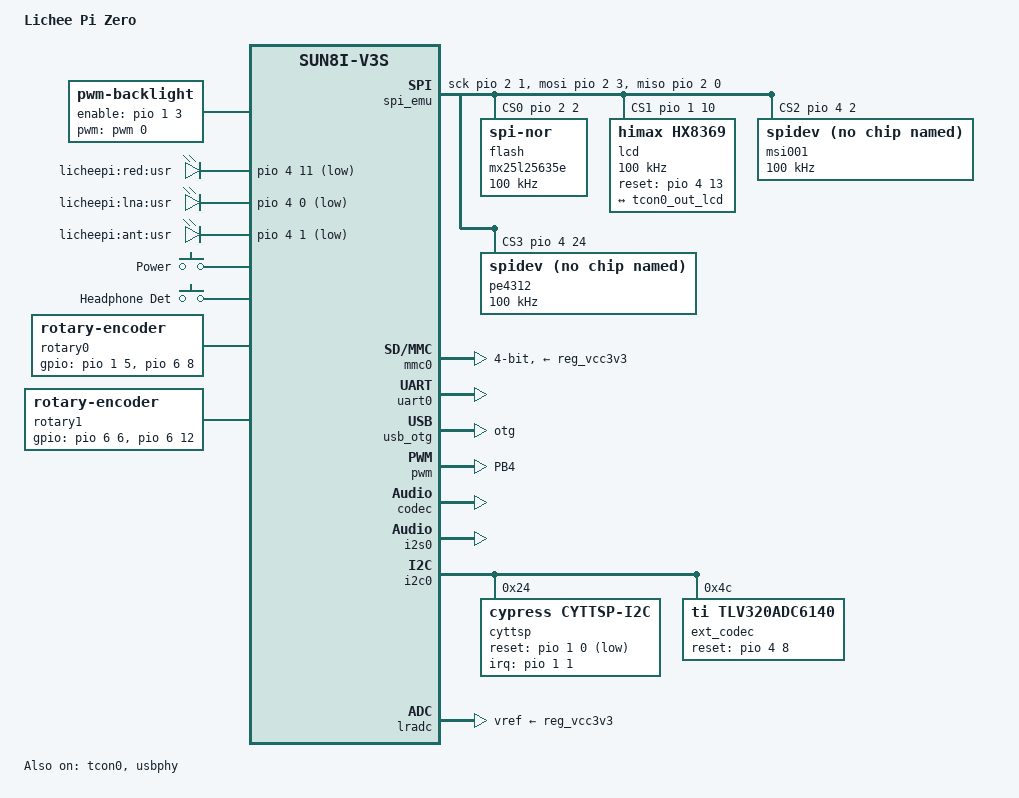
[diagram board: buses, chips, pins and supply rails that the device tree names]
/*
 * Copyright (C) 2016 Icenowy Zheng <icenowy@aosc.xyz>
 *
 * This file is dual-licensed: you can use it either under the terms
 * of the GPL or the X11 license, at your option. Note that this dual
 * licensing only applies to this file, and not this project as a
 * whole.
 *
 *  a) This file is free software; you can redistribute it and/or
 *     modify it under the terms of the GNU General Public License as
 *     published by the Free Software Foundation; either version 2 of the
 *     License, or (at your option) any later version.
 *
 *     This file is distributed in the hope that it will be useful,
 *     but WITHOUT ANY WARRANTY; without even the implied warranty of
 *     MERCHANTABILITY or FITNESS FOR A PARTICULAR PURPOSE.  See the
 *     GNU General Public License for more details.
 *
 * Or, alternatively,
 *
 *  b) Permission is hereby granted, free of charge, to any person
 *     obtaining a copy of this software and associated documentation
 *     files (the "Software"), to deal in the Software without
 *     restriction, including without limitation the rights to use,
 *     copy, modify, merge, publish, distribute, sublicense, and/or
 *     sell copies of the Software, and to permit persons to whom the
 *     Software is furnished to do so, subject to the following
 *     conditions:
 *
 *     The above copyright notice and this permission notice shall be
 *     included in all copies or substantial portions of the Software.
 *
 *     THE SOFTWARE IS PROVIDED "AS IS", WITHOUT WARRANTY OF ANY KIND,
 *     EXPRESS OR IMPLIED, INCLUDING BUT NOT LIMITED TO THE WARRANTIES
 *     OF MERCHANTABILITY, FITNESS FOR A PARTICULAR PURPOSE AND
 *     NONINFRINGEMENT. IN NO EVENT SHALL THE AUTHORS OR COPYRIGHT
 *     HOLDERS BE LIABLE FOR ANY CLAIM, DAMAGES OR OTHER LIABILITY,
 *     WHETHER IN AN ACTION OF CONTRACT, TORT OR OTHERWISE, ARISING
 *     FROM, OUT OF OR IN CONNECTION WITH THE SOFTWARE OR THE USE OR
 *     OTHER DEALINGS IN THE SOFTWARE.
 */

/dts-v1/;
#include "sun8i-v3s.dtsi"
#include "sunxi-common-regulators.dtsi"

#include <dt-bindings/gpio/gpio.h>
#include <dt-bindings/pwm/pwm.h>
#include <dt-bindings/input/input.h>

/ {
	model = "Lichee Pi Zero";
	compatible = "licheepi,licheepi-zero", "allwinner,sun8i-v3s";

	aliases {
		serial0 = &uart0;
	};

	chosen {
		stdout-path = "serial0:115200n8";
	};

	backlight: backlight {
			compatible = "pwm-backlight";
			pwms = <&pwm 0 50000 PWM_POLARITY_INVERTED>;
			enable-gpios = <&pio 1 3 GPIO_ACTIVE_HIGH>; // PB3

			brightness-levels = <0 1 2 4 8 16 32 64 128 255>;
			default-brightness-level = <9>;
	};

	// panel: panel {
	// 	compatible = "qiaodian,qd43003c0-40", "simple-panel";
	// 	#address-cells = <1>;
	// 	#size-cells = <0>;
	// 	enable-gpios = <&pio 1 3 GPIO_ACTIVE_HIGH>;//PB3
	// 	backlight = <&backlight>;

	// 	port@0 {
	// 		reg = <0>;
	// 		#address-cells = <1>;
	// 		#size-cells = <0>;

	// 		panel_input: endpoint@0 {
	// 			reg = <0>;
	// 			remote-endpoint = <&tcon0_out_lcd>;
	// 		};
	// 	};
	// };

	leds {
		compatible = "gpio-leds";

		// blue_led {
		// 	label = "licheepi:blue:usr";
		// 	gpios = <&pio 6 1 GPIO_ACTIVE_LOW>; /* PG1 */
		// };

		// green_led {
		// 	label = "licheepi:green:usr";
		// 	gpios = <&pio 6 0 GPIO_ACTIVE_LOW>; /* PG0 */
		// 	default-state = "on";
		// };

		// red_led {
		// 	label = "licheepi:red:usr";
		// 	gpios = <&pio 6 2 GPIO_ACTIVE_LOW>; /* PG2 */
		// };

		touch_led {
			label = "licheepi:red:usr";
			gpios = <&pio 4 11 GPIO_ACTIVE_LOW>; /* PE11 */
		};

		lna_switch {
			label = "licheepi:lna:usr";
			gpios = <&pio 4 0 GPIO_ACTIVE_LOW>; /* PE0 */
		};

		ant_switch {
			label = "licheepi:ant:usr";
			gpios = <&pio 4 1 GPIO_ACTIVE_LOW>; /* PE1 */
		};
	};

	
	spi_emu {
		compatible = "spi-gpio";

		#address-cells = <1>;
		#size-cells = <0>;
		
		//             PC2                        PB10                        PE2                           PE24
		cs-gpios = <&pio 2 2 GPIO_ACTIVE_HIGH>, <&pio 1 10 GPIO_ACTIVE_HIGH>, <&pio 4 2 GPIO_ACTIVE_HIGH>, <&pio 4 24 GPIO_ACTIVE_HIGH>;
		// PC1
		sck-gpios = <&pio 2 1 0>;
		// PC3 
		mosi-gpios = <&pio 2 3 0>;
		// PC0
		miso-gpios = <&pio 2 0 0>;
		
		num-chipselects = <4>;

		flash:mx25l25635e@0 {
			compatible = "jedec,spi-nor";
			reg = <0x0>;
			spi-max-frequency = <100000>;
		};
		lcd: hx8369@1 {
			compatible = "himax,hx8369";
			reg = <0x1>;
			spi-max-frequency = <100000>;
			spi-cpol;
			spi-cpha;
			gpios-reset = <&pio 4 13 GPIO_ACTIVE_HIGH>; // PE 13
			#address-cells = <1>;
			#size-cells = <0>;

			port@0 {
				reg = <0>;
				#address-cells = <1>;
				#size-cells = <0>;

				panel_input: endpoint@0 {
					reg = <0>;
					remote-endpoint = <&tcon0_out_lcd>;
				};
			};
		};
		msi001@2 {
			compatible = "rohm,dh2228fv";
			spi-max-frequency = <100000>;
			reg = <0x2>;
		};
		pe4312@3 {
			compatible = "rohm,dh2228fv";
			spi-max-frequency = <100000>;
			reg = <0x3>;
		};
	};

	gpio_keys {
        compatible = "gpio-keys";
        pinctrl-names = "default";
        pinctrl-0 = <&key_pins>;
        // autorepeat;
        
		button0
		{
			label = "Power";
			linux,code = <KEY_ENTER>;
			interrupt-parent = <&pio>;
			interrupts = <6 6 IRQ_TYPE_EDGE_FALLING>; //PG6
        };

		button1
		{
			label = "Headphone Det";
			linux,code = <KEY_F1>;
			interrupt-parent = <&pio>;
			interrupts = <1 2 IRQ_TYPE_EDGE_FALLING>; //PB2
		};
	};

	rotary0 {
        compatible = "rotary-encoder";
		gpios = <&pio 1 5 0>, <&pio 6 8 0>; /* PB5, PG8 */
        linux,axis = <0>; /* REL_X */
        rotary-encoder,encoding = "gray";
        rotary-encoder,relative-axis;
	};

	rotary1 {
        compatible = "rotary-encoder";
		gpios = <&pio 6 6 0>, <&pio 6 12 0>; /* PG6, PG12 */
        linux,axis = <1>; /* REL_Y */
        rotary-encoder,encoding = "gray";
        rotary-encoder,relative-axis;
	};

	sound_i2s {
		compatible = "simple-audio-card";
		simple-audio-card,name = "IQDecoder";
		simple-audio-card,format = "i2s";
		simple-audio-card,mclk-fs = <256>;

		status = "okay";

		simple-audio-card,cpu {
			sound-dai=<&i2s0>;
		};

		simple-audio-card,codec {
			sound-dai=<&ext_codec>;
		};
	};

};

&mmc0 {
	broken-cd;
	bus-width = <4>;
	vmmc-supply = <&reg_vcc3v3>;
	status = "okay";
};

&uart0 {
	pinctrl-0 = <&uart0_pb_pins>;
	pinctrl-names = "default";
	status = "okay";
};

&usb_otg {
	dr_mode = "otg";
	status = "okay";
};


&pio {
	compatible = "allwinner,sun8i-r11-pinctrl";

	pwm0_pin: pwm0-pin {
		pins = "PB4";
		function = "pwm0";
	};

	key_pins: key_pins {
		pins = "PB2", "PG6";
		function = "gpio_in";
	};

	touch_pins: touch_pins {
		pins = "PB1";
		function = "gpio_in";
	};

	spi0_output: spi0_output_pins {
		pins = "PC1", "PC3", "PC2", "PC0", "PB10", "PE2","PE24";
		function = "gpio_out";
		bias-pull-up;
	};
	
	// spi0_input: spi0_input_pins {
	// 	pins = "PC0";
	// 	function = "gpio_in";
	// };
};

&pwm {
	pinctrl-names = "default";
	pinctrl-0 = <&pwm0_pin>;
	status = "okay";
};

&tcon0 {
	pinctrl-names = "default";
	pinctrl-0 = <&lcd_rgb666_pins>;
	status = "okay";
};

&tcon0_out {
    tcon0_out_lcd: endpoint@0 {
        reg = <0>;
        remote-endpoint = <&panel_input>;
    };
};

&codec {
	allwinner,audio-routing =
		"Headphone", "HP",
		"Headphone", "HPCOM",
		"MIC1", "Mic",
		"Mic", "HBIAS";
	status = "okay";
};

&ccu {
	compatible = "allwinner,sun8i-r11-ccu";
};

&i2s0 {
	sound-dai = <&ext_codec>;
	status = "okay";
};

&usbphy {
	// usb0_id_det-gpios = <&pio 5 6 GPIO_ACTIVE_HIGH>; // PF6
	usb0_vbus_det-gpios = <&pio 6 8 GPIO_ACTIVE_HIGH>; // PG8

	status = "okay";
};

&i2c0 {
	status = "okay";

	/* ... */
	cyttsp@24 {
		compatible = "cypress,cyttsp-i2c";
		reg = <0x24>;
		pinctrl-names = "default";
		pinctrl-0 = <&touch_pins>;
		interrupt-parent = <&pio>;
		interrupts = <1 1 0>; // PB1 interrupt
		interrupt-name = "touch-interrupt";

		reset-gpios = <&pio 1 0 GPIO_ACTIVE_LOW>; // PB0

		touchscreen-size-x = <800>;
		touchscreen-size-y = <480>;
		touchscreen-fuzz-x = <4>;
		touchscreen-fuzz-y = <7>;

		bootloader-key = /bits/ 8 <0x01 0x02 0x03 0x04 0x05 0x06 0x07 0x08>;
		active-distance = <8>;
		active-interval-ms = <0>;
		lowpower-interval-ms = <200>;
		touch-timeout-ms = <100>;
	};

	ext_codec: codec@4c {
		#sound-dai-cells = <0>;
		compatible = "ti,tlv320adc6140";
		reg = <0x4c>;
		ti,vref-source = <0>;
		ti,gpi-config = <0 0 0 0>;
		ti,gpio-config = <0 0>;
		reset-gpios = <&pio 4 8 GPIO_ACTIVE_HIGH>; // PE 8
	};
};


&lradc {
	vref-supply = <&reg_vcc3v3>;
	status = "okay";

	button-0 {
		label = "Select";
		linux,code = <KEY_SELECT>;
		channel = <0>;
		voltage = <1336000>;
	};

	button-1 {
		label = "Start";
		linux,code = <KEY_OK>;
		channel = <0>;
		voltage = <2000000>;
	};
};

/delete-node/ &uart2; // avoid conflict on PB1
/delete-node/ &spi0; // use GPIO to support 9bit spi
